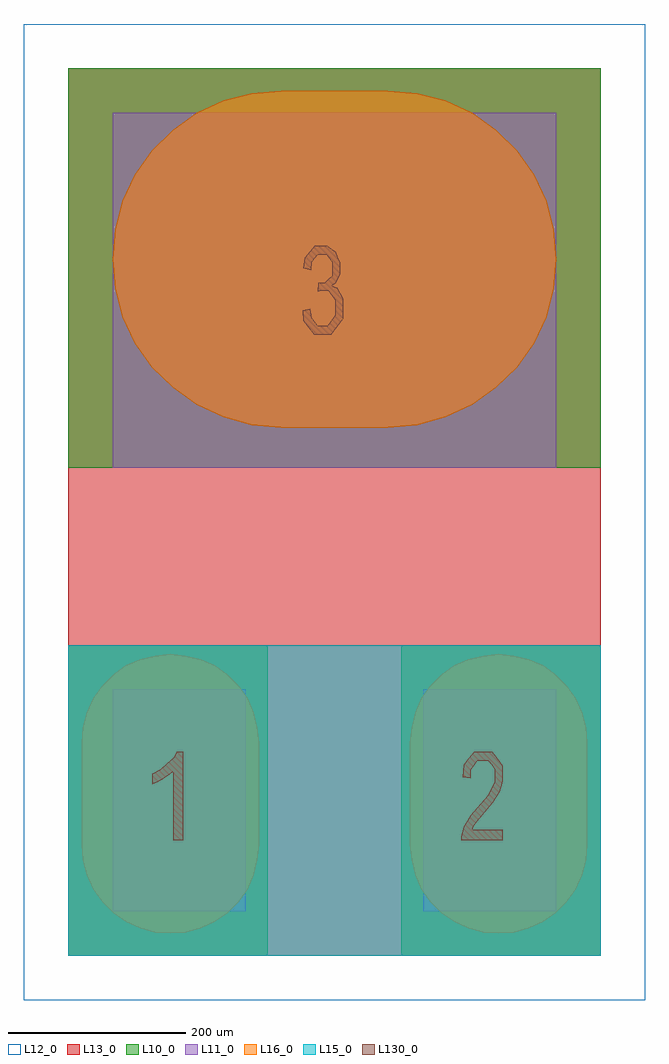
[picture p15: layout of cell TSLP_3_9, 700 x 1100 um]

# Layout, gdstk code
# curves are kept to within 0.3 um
import gdstk
lib = gdstk.Library(unit=1e-6, precision=1e-09)
def R(c, l, rs):  # rectangles x0, y0, x1, y1
    for r in rs: c.add(gdstk.rectangle(r[:2], r[2:], *l))
def P(c, l, *ps):  # polygons
    for p in ps: c.add(gdstk.Polygon(p, *l))
L10_0 = (10, 0)
L11_0 = (11, 0)
L12_0 = (12, 0)
L13_0 = (13, 0)
L15_0 = (15, 0)
L16_0 = (16, 0)
L130_0 = (130, 0)

tslp_3_9 = lib.new_cell('TSLP_3_9')
R(tslp_3_9, L10_0, [(-300,-500,-75,-150), (75,-500,300,-150), (-300,50,300,500)])
R(tslp_3_9, L11_0, [(-250,-450,-100,-200), (100,-450,250,-200), (-250,50,250,450)])
R(tslp_3_9, L12_0, [(-350,-550,350,550)])
R(tslp_3_9, L13_0, [(-300,-500,300,500)])
R(tslp_3_9, L15_0, [(-300,-500,300,-150)])
P(tslp_3_9, L16_0, [(-182,140),(-155,121),(-125,107),(-93,98),(-60,95),(60,95),(93,98),(125,107),(155,121),(182,140),(206,163),(225,190),(239,220),(247,252),(250,285),(247,318),(239,350),(225,380),(206,407),(182,431),(155,450),(125,464),(93,472),(60,475),(-60,475),(-93,472),(-125,464),(-155,450),(-182,431),(-206,407),(-225,380),(-239,350),(-247,318),(-250,285),(-247,252),(-239,220),(-225,190),(-206,163)],
  [(-235,-462),(-219,-469),(-202,-474),(-185,-475),(-168,-474),(-151,-469),(-135,-462),(-121,-452),(-108,-439),(-98,-425),(-91,-409),(-87,-392),(-85,-375),(-85,-260),(-87,-243),(-91,-226),(-98,-210),(-108,-196),(-121,-183),(-135,-173),(-151,-166),(-168,-162),(-185,-160),(-202,-162),(-219,-166),(-235,-173),(-249,-183),(-262,-196),(-272,-210),(-279,-226),(-284,-243),(-285,-260),(-285,-375),(-284,-392),(-279,-409),(-272,-425),(-262,-439),(-249,-452)],
  [(135,-462),(151,-469),(168,-474),(185,-475),(202,-474),(219,-469),(235,-462),(249,-452),(262,-439),(272,-425),(279,-409),(284,-392),(285,-375),(285,-260),(284,-243),(279,-226),(272,-210),(262,-196),(249,-183),(235,-173),(219,-166),(202,-162),(185,-160),(168,-162),(151,-166),(135,-173),(121,-183),(108,-196),(98,-210),(91,-226),(87,-243),(85,-260),(85,-375),(87,-392),(91,-409),(98,-425),(108,-439),(121,-452)])
P(tslp_3_9, L130_0, [(155.064,-358.247),(156.513,-354.918),(160.955,-348.329),(178.144,-327.948),(186.207,-315.177),(189.684,-303.628),(189.684,-285.897),(177.806,-270),(157.527,-270),(145.553,-284.742),(144.635,-298.804),(153.568,-300.095),(153.616,-290.72),(161.148,-280.122),(173.364,-280.122),(180.751,-290.109),(180.751,-304.307),(172.639,-319.864),(153.664,-341.739),(145.794,-354.783),(142.897,-365.584),(142.994,-370),(189.78,-370),(189.78,-358.247)],
  [(-35.051,215.354),(-22.915,200),(-3.545,200),(9.78,217.824),(9.78,240.12),(2.927,252.737),(-3.26,254.74),(1.499,257.811),(6.353,268.224),(6.353,281.242),(1.261,293.124),(-8.352,300),(-22.344,300),(-33.48,286.716),(-35.051,274.633),(-26.484,272.497),(-25.532,281.308),(-18.87,290.12),(-8.828,290.12),(-2.451,281.442),(-2.451,266.489),(-11.208,258.478),(-18.061,258.611),(-19.012,248.064),(-15.395,249.399),(-7.02,249.399),(0.69,238.651),(0.69,221.696),(-7.638,209.947),(-18.774,209.947),(-25.866,218.959),(-27.341,229.172),(-35.907,227.57)],
  [(-170.22,-270),(-177.788,-270),(-180.855,-276.454),(-195.599,-290.177),(-205.451,-295),(-205.451,-306.821),(-199.97,-304.715),(-186.204,-296.291),(-181.964,-292.079),(-181.964,-370),(-170.22,-370)])

lib.write_gds('TSLP_3_9.gds')
